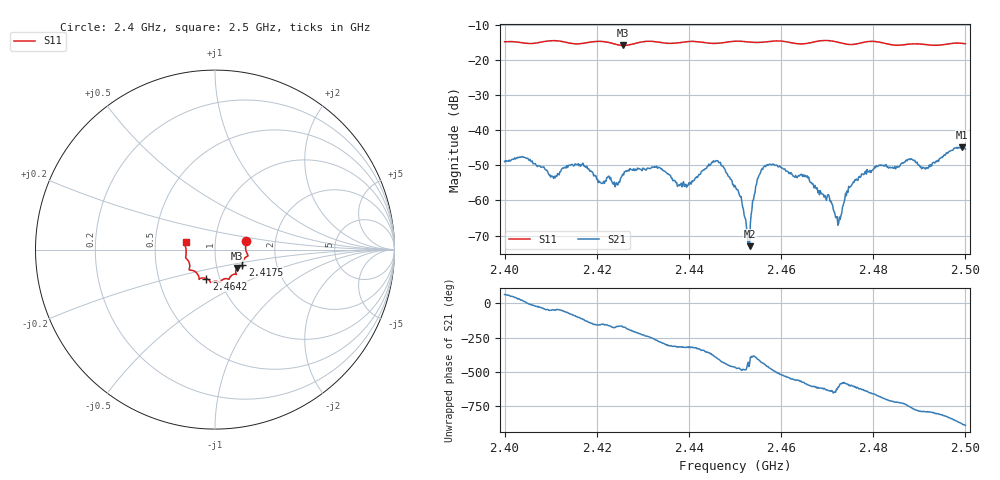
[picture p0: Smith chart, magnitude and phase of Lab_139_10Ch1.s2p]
# Hz S RI R 50
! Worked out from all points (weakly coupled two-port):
!   601 points, 2.4 GHz to 2.5 GHz, reference 50 ohm
!   highest |S21| = -44.86 dB at 2.4993 GHz (marker M1); lowest = -73.0 dB at 2.4532 GHz (marker M2)
!   lowest |S11| = -15.9 dB at 2.4257 GHz (marker M3), VSWR 1.38, Z = 62.5 - j13.1 ohm
!   |S11| at or under -10 dB: start of sweep to end of sweep
!   S12 and S22 are empty: the file has one direction only
!   S11 on the Smith chart (normalised r, x): 2.4 GHz: 1.41, +0.14; 2.4175 GHz: 1.34, -0.23; 2.4642 GHz: 0.86, -0.29; 2.5 GHz: 0.72, +0.06
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2.4e9  0.1733 0.0495  0.00155 0.00321  0 0  0 0
2.4045e9  0.1711 0.0208  0.00399 0.000721  0 0  0 0
2.4105e9  0.1842 -0.0338  0.0015 -0.00155  0 0  0 0
2.416667e9  0.153 -0.0741  -0.00119 -0.00297  0 0  0 0
2.4175e9  0.1521 -0.0835  -0.00177 -0.00242  0 0  0 0
2.420833e9  0.155 -0.0972  -0.00164 -0.000759  0 0  0 0
2.425667e9  0.1233 -0.1018  -0.00235 -0.000304  0 0  0 0
2.433333e9  0.1137 -0.1373  0.000262 0.00291  0 0  0 0
2.4395e9  0.0797 -0.1623  0.00116 0.00102  0 0  0 0
2.446333e9  0.0448 -0.1661  0.00257 -0.00257  0 0  0 0
2.45e9  0.0286 -0.1815  -0.000412 -0.00157  0 0  0 0
2.453167e9  0.0163 -0.178  3.27e-05 -0.000221  0 0  0 0
2.454333e9  0.00752 -0.1765  0.00112 -0.000607  0 0  0 0
2.456167e9  -0.00773 -0.1782  0.000646 -0.00289  0 0  0 0
2.464167e9  -0.0481 -0.1614  -0.00201 0.00113  0 0  0 0
2.466667e9  -0.0765 -0.1591  -0.000718 0.00157  0 0  0 0
2.472333e9  -0.0892 -0.1537  -0.000147 0.000418  0 0  0 0
2.475833e9  -0.115 -0.1198  -0.000793 0.00162  0 0  0 0
2.483333e9  -0.1406 -0.0895  0.00278 0.000723  0 0  0 0
2.4915e9  -0.1617 -0.0297  0.00101 -0.00275  0 0  0 0
2.499333e9  -0.1666 0.0389  -0.00536 -0.00198  0 0  0 0
2.5e9  -0.1636 0.0428  -0.00527 -0.000989  0 0  0 0
